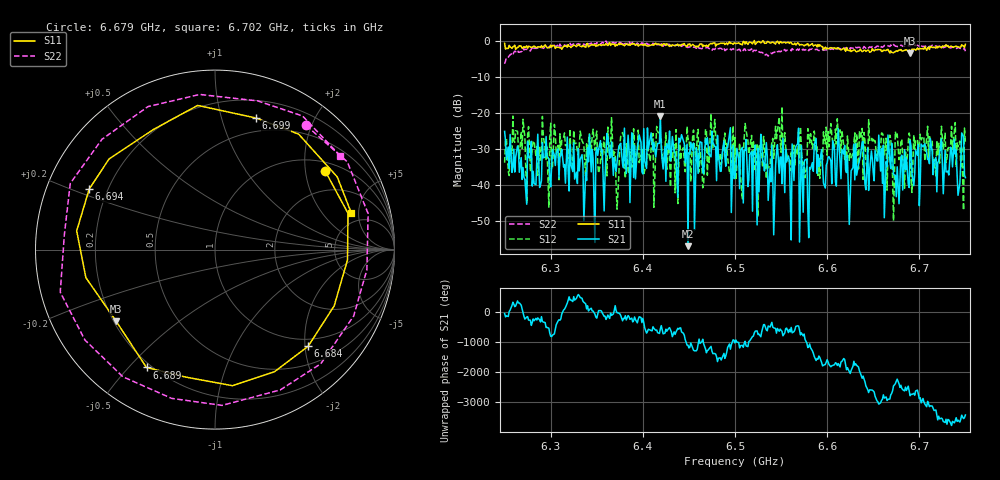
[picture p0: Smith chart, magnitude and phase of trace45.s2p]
# Hz S RI R 50
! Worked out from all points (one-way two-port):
!   401 points, 6.25 GHz to 6.75 GHz, reference 50 ohm
!   highest |S21| = -20.73 dB at 6.419 GHz (marker M1); lowest = -57.0 dB at 6.449 GHz (marker M2)
!   lowest |S11| = -3.3 dB at 6.69 GHz (marker M3), VSWR 5.25, Z = 10.5 - j15.5 ohm
!   |S11| at or under -10 dB: nowhere
!   |S22| runs from -6.3 to 0.1 dB; largest |S21 - S12| = 0.13
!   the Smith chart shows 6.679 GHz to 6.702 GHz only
!   S11 on the Smith chart (normalised r, x): 6.679 GHz: 1.27, +2.57; 6.684 GHz: 0.84, -2.07; 6.689 GHz: 0.18, -0.56; 6.694 GHz: 0.13, +0.22; 6.699 GHz: 0.36, +1.29; 6.702 GHz: 3.88, +4.11
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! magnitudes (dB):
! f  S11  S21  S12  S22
! 6.25 GHz  -0.5  -25.0  -33.7  -6.3
! 6.271 GHz  -1.5  -37.9  -24.5  -2.4
! 6.294 GHz  -1.0  -32.2  -29.8  -1.6
! 6.334 GHz  -1.5  -31.5  -27.7  -0.8
! 6.371 GHz  -0.8  -36.1  -40.4  -0.3
! 6.378 GHz  -1.0  -34.2  -25.4  -0.8
! 6.401 GHz  -1.2  -24.3  -36.8  -0.6
! 6.418 GHz  -0.8  -28.4  -25.5  -0.9
! 6.419 GHz  -1.0  -20.7  -26.8  -0.9
! 6.449 GHz  -0.8  -57.0  -27.3  -1.7
! 6.5 GHz  -0.6  -37.8  -26.8  -2.3
! 6.572 GHz  -0.9  -29.0  -29.1  -2.5
! 6.584 GHz  -0.6  -33.7  -29.8  -2.1
! 6.668 GHz  -3.3  -33.0  -26.1  -1.4
! 6.679 GHz  -2.5  -38.8  -31.8  -1.3
! 6.684 GHz  -2.5  -30.1  -40.8  -1.3
! 6.689 GHz  -2.4  -40.7  -25.5  -1.3
! 6.69 GHz  -3.3  -27.6  -27.0  -1.2
! 6.694 GHz  -2.2  -40.1  -26.0  -1.5
! 6.699 GHz  -2.3  -28.7  -30.7  -1.2
! 6.702 GHz  -2.1  -28.6  -27.4  -1.2
! 6.75 GHz  -0.9  -37.9  -28.0  -2.8
